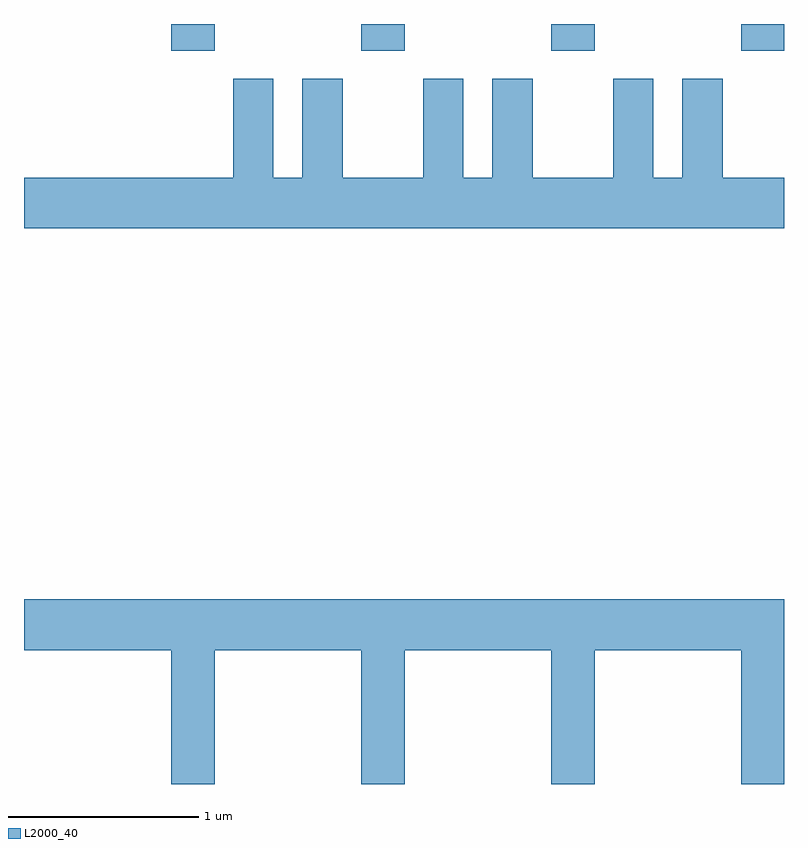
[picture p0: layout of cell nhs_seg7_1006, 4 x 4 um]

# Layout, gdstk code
import gdstk
lib = gdstk.Library(unit=1e-6, precision=1e-09)
def R(c, l, rs):  # rectangles x0, y0, x1, y1
    for r in rs: c.add(gdstk.rectangle(r[:2], r[2:], *l))
def A(c, l, x, y, w, h, nx, ny, dx, dy):  # array of equal rectangles
    R(c, l, [(x+i*dx, y+j*dy, x+i*dx+w, y+j*dy+h) for i in range(nx) for j in range(ny)])
def P(c, l, *ps):  # polygons
    for p in ps: c.add(gdstk.Polygon(p, *l))
L2000_40 = (2000, 40)

nhs_seg7_1006 = lib.new_cell('nhs_seg7_1006')
A(nhs_seg7_1006, L2000_40, 216.386, 1744.111, 0.228, 0.141, 3, 1, 1, 0)
R(nhs_seg7_1006, L2000_40, [(219.386,1744.111,219.611,1744.252)])
P(nhs_seg7_1006, L2000_40, [(219.611,1743.444),(219.289,1743.444),(219.289,1743.964),(219.076,1743.964),(219.076,1743.444),(218.924,1743.444),(218.924,1743.964),(218.711,1743.964),(218.711,1743.444),(218.289,1743.444),(218.289,1743.964),(218.076,1743.964),(218.076,1743.444),(217.924,1743.444),(217.924,1743.964),(217.711,1743.964),(217.711,1743.444),(217.289,1743.444),(217.289,1743.964),(217.076,1743.964),(217.076,1743.444),(216.924,1743.444),(216.924,1743.964),(216.711,1743.964),(216.711,1743.444),(215.611,1743.444),(215.611,1743.176),(219.611,1743.176)],
  [(216.614,1740.956),(217.386,1740.956),(217.386,1740.252),(217.614,1740.252),(217.614,1740.956),(218.386,1740.956),(218.386,1740.252),(218.614,1740.252),(218.614,1740.956),(219.386,1740.956),(219.386,1740.252),(219.611,1740.252),(219.611,1741.224),(215.611,1741.224),(215.611,1740.956),(216.386,1740.956),(216.386,1740.252),(216.614,1740.252)])

lib.write_gds('nhs_seg7_1006.gds')
